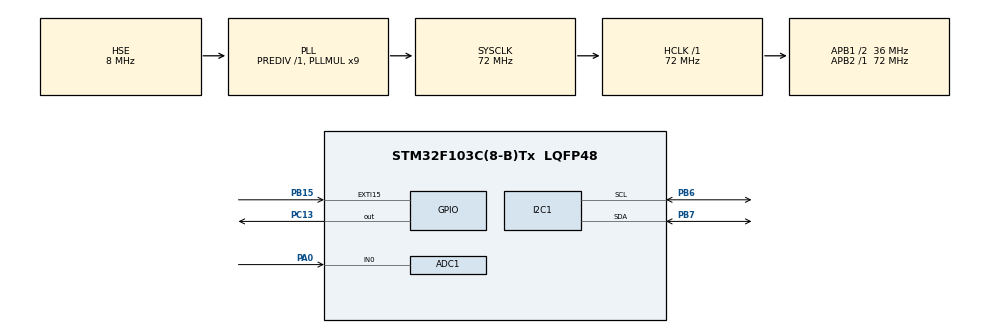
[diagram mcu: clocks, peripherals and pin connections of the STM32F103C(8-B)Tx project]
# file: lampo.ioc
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ADC1.Channel-2\#ChannelRegularConversion=ADC_CHANNEL_0
ADC1.ContinuousConvMode=DISABLE
ADC1.DataAlign=ADC_DATAALIGN_RIGHT
ADC1.EnableRegularConversion=ENABLE
ADC1.ExternalTrigConv=ADC_SOFTWARE_START
ADC1.NbrOfConversionFlag=1
ADC1.Rank-2\#ChannelRegularConversion=1
ADC1.SamplingTime-2\#ChannelRegularConversion=ADC_SAMPLETIME_41CYCLES_5
ADC1.master=1
I2C1.I2C_Mode=I2C_Fast
Mcu.Family=STM32F1
Mcu.Name=STM32F103C(8-B)Tx
Mcu.Package=LQFP48
NVIC.ADC1_2_IRQn=true\:0\:0\:false\:false\:true\:true\:true\:true
NVIC.EXTI15_10_IRQn=true\:0\:0\:false\:false\:true\:true\:true\:true
NVIC.PriorityGroup=NVIC_PRIORITYGROUP_4
NVIC.TIM2_IRQn=true\:0\:0\:false\:false\:true\:true\:true\:true
NVIC.TIM3_IRQn=true\:0\:0\:false\:false\:true\:true\:true\:true
PA0-WKUP.Signal=ADCx_IN0
PB15.GPIO_PuPd=GPIO_PULLDOWN
PB15.Signal=GPXTI15
PB6.Mode=I2C
PB6.Signal=I2C1_SCL
PB7.Mode=I2C
PB7.Signal=I2C1_SDA
PC13-TAMPER-RTC.Signal=GPIO_Output
PD0-OSC_IN.Mode=HSE-External-Oscillator
PD0-OSC_IN.Signal=RCC_OSC_IN
PD1-OSC_OUT.Mode=HSE-External-Oscillator
PD1-OSC_OUT.Signal=RCC_OSC_OUT
ProjectManager.HeapSize=0x200
ProjectManager.StackSize=0x400
ProjectManager.TargetToolchain=STM32CubeIDE
RCC.ADCPresc=RCC_ADCPCLK2_DIV8
RCC.AHBFreq_Value=72000000
RCC.APB1CLKDivider=RCC_HCLK_DIV2
RCC.APB1Freq_Value=36000000
RCC.APB1TimFreq_Value=72000000
RCC.APB2Freq_Value=72000000
RCC.APB2TimFreq_Value=72000000
RCC.HCLKFreq_Value=72000000
RCC.PLLMUL=RCC_PLL_MUL9
RCC.PLLSourceVirtual=RCC_PLLSOURCE_HSE
RCC.SYSCLKFreq_VALUE=72000000
RCC.SYSCLKSource=RCC_SYSCLKSOURCE_PLLCLK
RCC.USBFreq_Value=72000000
SH.ADCx_IN0.0=ADC1_IN0,IN0
TIM2.CounterMode=TIM_COUNTERMODE_UP
TIM2.Period=10000-1
TIM2.Prescaler=7200-1
TIM3.Period=100-1
TIM3.Prescaler=144-1
TIM3.TIM_MasterOutputTrigger=TIM_TRGO_RESET
VP_SYS_VS_ND.Mode=No_Debug
VP_TIM2_VS_ClockSourceINT.Mode=Internal
VP_TIM3_VS_ClockSourceINT.Mode=Internal
board=custom

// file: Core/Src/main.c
/* USER CODE BEGIN Header */
/**
 ******************************************************************************
 * @file           : main.c
 * @brief          : Main program body
 ******************************************************************************
 * @attention
 *
 * Copyright (c) 2022 STMicroelectronics.
 * All rights reserved.
 *
 * This software is licensed under terms that can be found in the LICENSE file
 * in the root directory of this software component.
 * If no LICENSE file comes with this software, it is provided AS-IS.
 *
 ******************************************************************************
 */
/* USER CODE END Header */
#include "main.h"

/* USER CODE BEGIN Includes */
#include "OLED.h"
#include "checksignal.h"
/* USER CODE END Includes */

ADC_HandleTypeDef hadc1;

I2C_HandleTypeDef hi2c1;

TIM_HandleTypeDef htim2;
TIM_HandleTypeDef htim3;

/* USER CODE BEGIN PV */

SignalInfo signalInfo;

uint16_t adc_count = 0;
volatile uint16_t adc_stopped = 0;
volatile uint16_t new_measure_do = 0;

volatile uint16_t tick1 = 0;

uint16_t decimates[] =
{ 1, 2, 4, 8, 16, 32, 64, 128 };

const uint16_t decimate_max_index = 8;
uint16_t decimate_index = 0;

// 128*32
#define MAX_SAMPLES_COUNT 4096
//#define MAX_SAMPLES_COUNT 3200
//#define MAX_SAMPLES_COUNT 2048
// 3200

// 5120

// Отсчеты АЦП 12 бит 0..4095
// 0-3.3 В

#pragma pack(push, 2)
volatile uint16_t samples[MAX_SAMPLES_COUNT] =
{ 0, };
#pragma pack(pop)

volatile uint16_t sample_index = 0;

volatile uint16_t button_pressed = 0;

/* USER CODE END PV */

void SystemClock_Config(void);
static void MX_GPIO_Init(void);
static void MX_I2C1_Init(void);
static void MX_ADC1_Init(void);
static void MX_TIM3_Init(void);
static void MX_TIM2_Init(void);

/* USER CODE BEGIN 0 */

void HAL_ADC_ConvCpltCallback(ADC_HandleTypeDef *hadc)
{
	// обработчик завершения преобразования ацп
	if (adc_stopped)
	{
		// сейчас пауза на обработку записанного сигнала
		return;
	}

	uint16_t a = HAL_ADC_GetValue(&hadc1);
	if (sample_index > 0)
	{
		// фильтрация=сглаживание
		// (предыдущий+текущий)/2 -> в новый отсчет
		a += samples[sample_index - 1];
		samples[sample_index] = a >> 1;
	}
	else
	{
		samples[sample_index] = a;
	}

	sample_index++;

	if (sample_index == MAX_SAMPLES_COUNT)
	{
		sample_index = 0;
		adc_stopped = 1;
	}
}

void HAL_TIM_PeriodElapsedCallback(TIM_HandleTypeDef *htim)
{
	if (htim->Instance == htim2.Instance)
	{
		// Таймер 2 настроен на 1 сек
		tick1++;
		new_measure_do = 1;
	}
	if (htim->Instance == htim3.Instance)
	{
		// для таймера 3 настроено
		// делители 144-1, 50-1  - 10000 кГц - 100.0 мкс
		// делители 225-1, 100-1 -  3200 кГц - 312.5 мкс
		// -1 в настройках таймера - считает с 0 до N-1 и выдает прерывание
		// и запустим новое преобразование ацп
		HAL_ADC_Start_IT(&hadc1);
	}
}

void init_my_devices()
{
	HAL_Delay(100);
	OLED_Init(&hi2c1);
	OLED_FontSet(Font_MSX_6x8_rus1251);
	OLED_SetContrast(4);
	OLED_Clear(0);
	OLED_DrawStr("STM32F103C8T6", 0, 0, 1);
	OLED_DrawStr(__DATE__, 0, 8, 1);
	OLED_DrawStr(__TIME__, 0, 16, 1);
	char str[20];
	sprintf(str, "S=%ld", HAL_RCC_GetSysClockFreq());
	OLED_DrawStr(str, 0, 24, 1);
	sprintf(str, "H=%ld", HAL_RCC_GetHCLKFreq());
	OLED_DrawStr(str, 64, 24, 1);
	sprintf(str, "1=%ld", HAL_RCC_GetPCLK1Freq());
	OLED_DrawStr(str, 0, 32, 1);
	sprintf(str, "2=%ld", HAL_RCC_GetPCLK2Freq());
	OLED_DrawStr(str, 64, 32, 1);
	OLED_UpdateScreen();
	HAL_Delay(800);
	OLED_Clear(0);
	OLED_UpdateScreen();
}

void print_val(uint8_t line, uint32_t v)
{
	char str[15];
	sprintf(str, "%06lu", v);

	switch (line)
	{
	case 0:
		str[0] = 'A';
		break;
	case 1:
		str[0] = 'X';
		break;
	case 2:
		str[0] = 'N';
		break;
	case 3:
		str[0] = 0x98;
		break;
	case 4:
		str[0] = 'F';
		break;
	case 5:
		str[0] = 'D';
		break;
	case 6:
		str[0] = 'K';
		break;
	case 7:
		str[0] = 'k';
		break;
	}

	OLED_DrawStr(str, OLED_WIDTH - 6 * 6, line * 8, 1);
}

void draw_button_state()
{
	char str[10];
	// если compressed - то узкий символ прямоугольник
	str[0] = button_pressed ? 0x86 : 0x9b;
	str[1] = 0;
	OLED_DrawStr(str, 0, 0, 1);
}

void print_signal(SignalInfo *s)
{
	print_val(0, s->average);
	print_val(1, s->maxCode);
	print_val(2, s->minCode);
	print_val(3, s->range);
	print_val(4, s->freq);
	print_val(5, s->decimated);
	print_val(6, s->kp1);
	print_val(7, s->kp2);

}

void print_ticks()
{
	char str[15];
	sprintf(str, "%06u", tick1);
	OLED_DrawStr(str, 0, 56, 1);
}

void draw_waveform()
{
//	decimate_index = (tick1 / 2) % 6;
	signalInfo.decimated = decimates[decimate_index];
	process_adc(&signalInfo, samples, MAX_SAMPLES_COUNT);
	OLED_Clear(0);
	for (uint16_t i = 0; i < signalInfo.show_samples; i++)
	{
		OLED_DrawPixel(i, OLED_HEIGHT - samples[i] - 1);
	}

	print_signal(&signalInfo);
	print_ticks();
	OLED_UpdateScreen();
}

void print_val_zoom(char c, uint32_t v, uint8_t x, uint8_t y, uint8_t zoom)
{
	char str[15];
	sprintf(str, "%4lu", v);
	str[0] = c;

	OLED_DrawStrZoom(str, x, y, 1, zoom);
}

void draw_big_numbers()
{
	signalInfo.decimated = decimates[decimate_index];
	process_adc(&signalInfo, samples, MAX_SAMPLES_COUNT);
	OLED_Clear(0);

	char str[15];
	sprintf(str, "Kp %3u %%", signalInfo.kp1);
	OLED_DrawStrZoom(str, 4, 3, 1, 2);

	sprintf(str, "Fr %4u Hz", signalInfo.freq);
	OLED_DrawStrZoom(str, 4, 24, 1, 2);

	OLED_DrawRectangle(0, 0, 127, 21);
	OLED_DrawRectangle(0, 21, 127, 42);
	OLED_DrawRectangle(0, 42, 127, 63);

	sprintf(str, "%4u Min", signalInfo.minCode);
	OLED_DrawStrZoom(str, 4, 45, 1, 1);
	sprintf(str, "%4u Max", signalInfo.maxCode);
	OLED_DrawStrZoom(str, 4, 54, 1, 1);

	sprintf(str, "%4u Av", signalInfo.average);
	OLED_DrawStrZoom(str, 70, 45, 1, 1);
	sprintf(str, "%4u \x98", signalInfo.range);
	OLED_DrawStrZoom(str, 70, 54, 1, 1);

	OLED_UpdateScreen();
}

/* USER CODE END 0 */

int main(void)
{

	/* MCU Configuration--------------------------------------------------------*/

	/* Reset of all peripherals, Initializes the Flash interface and the Systick. */
	HAL_Init();

	/* Configure the system clock */
	SystemClock_Config();

	/* Initialize all configured peripherals */
	MX_GPIO_Init();
	MX_I2C1_Init();
	MX_ADC1_Init();
	MX_TIM3_Init();
	MX_TIM2_Init();
	/* USER CODE BEGIN 2 */

	init_my_devices();

	HAL_ADCEx_Calibration_Start(&hadc1);

	HAL_TIM_Base_Start_IT(&htim2);
	HAL_TIM_Base_Start_IT(&htim3);

	HAL_Delay(100);

	/* USER CODE END 2 */

	/* Infinite loop */
	/* USER CODE BEGIN WHILE */
	while (1)
	{
//		HAL_Delay(1);
		if (new_measure_do == 1)
		{
			new_measure_do = 0;
		}
		if (adc_stopped)
		{
			HAL_GPIO_WritePin(GPIOC, GPIO_PIN_13, GPIO_PIN_RESET);
			if (decimate_index == (decimate_max_index - 1))
			{
				draw_big_numbers();
			}
			else
			{
				draw_waveform();
			}
			sample_index = 0;
			adc_stopped = 0;
			HAL_GPIO_WritePin(GPIOC, GPIO_PIN_13, GPIO_PIN_SET);
		}

		if (button_pressed)
		{
			draw_button_state();
			OLED_UpdateScreen();
			button_pressed = 0;
			decimate_index = (decimate_index + 1) % decimate_max_index;
		}

		/* USER CODE END WHILE */

	}
}

void SystemClock_Config(void)
{
	RCC_OscInitTypeDef RCC_OscInitStruct =
	{ 0 };
	RCC_ClkInitTypeDef RCC_ClkInitStruct =
	{ 0 };
	RCC_PeriphCLKInitTypeDef PeriphClkInit =
	{ 0 };

	/** Initializes the RCC Oscillators according to the specified parameters
	 * in the RCC_OscInitTypeDef structure.
	 */
	RCC_OscInitStruct.OscillatorType = RCC_OSCILLATORTYPE_HSE;
	RCC_OscInitStruct.HSEState = RCC_HSE_ON;
	RCC_OscInitStruct.HSEPredivValue = RCC_HSE_PREDIV_DIV1;
	RCC_OscInitStruct.HSIState = RCC_HSI_ON;
	RCC_OscInitStruct.PLL.PLLState = RCC_PLL_ON;
	RCC_OscInitStruct.PLL.PLLSource = RCC_PLLSOURCE_HSE;
	RCC_OscInitStruct.PLL.PLLMUL = RCC_PLL_MUL9;
	if (HAL_RCC_OscConfig(&RCC_OscInitStruct) != HAL_OK)
	{
		Error_Handler();
	}

	/** Initializes the CPU, AHB and APB buses clocks
	 */
	RCC_ClkInitStruct.ClockType = RCC_CLOCKTYPE_HCLK | RCC_CLOCKTYPE_SYSCLK
			| RCC_CLOCKTYPE_PCLK1 | RCC_CLOCKTYPE_PCLK2;
	RCC_ClkInitStruct.SYSCLKSource = RCC_SYSCLKSOURCE_PLLCLK;
	RCC_ClkInitStruct.AHBCLKDivider = RCC_SYSCLK_DIV1;
	RCC_ClkInitStruct.APB1CLKDivider = RCC_HCLK_DIV2;
	RCC_ClkInitStruct.APB2CLKDivider = RCC_HCLK_DIV1;

	if (HAL_RCC_ClockConfig(&RCC_ClkInitStruct, FLASH_LATENCY_2) != HAL_OK)
	{
		Error_Handler();
	}
	PeriphClkInit.PeriphClockSelection = RCC_PERIPHCLK_ADC;
	PeriphClkInit.AdcClockSelection = RCC_ADCPCLK2_DIV8;
	if (HAL_RCCEx_PeriphCLKConfig(&PeriphClkInit) != HAL_OK)
	{
		Error_Handler();
	}
}

static void MX_ADC1_Init(void)
{

	ADC_ChannelConfTypeDef sConfig =
	{ 0 };

	/** Common config
	 */
	hadc1.Instance = ADC1;
	hadc1.Init.ScanConvMode = ADC_SCAN_DISABLE;
	hadc1.Init.ContinuousConvMode = DISABLE;
	hadc1.Init.DiscontinuousConvMode = DISABLE;
	hadc1.Init.ExternalTrigConv = ADC_SOFTWARE_START;
	hadc1.Init.DataAlign = ADC_DATAALIGN_RIGHT;
	hadc1.Init.NbrOfConversion = 1;
	if (HAL_ADC_Init(&hadc1) != HAL_OK)
	{
		Error_Handler();
	}

	/** Configure Regular Channel
	 */
	sConfig.Channel = ADC_CHANNEL_0;
	sConfig.Rank = ADC_REGULAR_RANK_1;
	sConfig.SamplingTime = ADC_SAMPLETIME_41CYCLES_5;
	if (HAL_ADC_ConfigChannel(&hadc1, &sConfig) != HAL_OK)
	{
		Error_Handler();
	}

}

static void MX_I2C1_Init(void)
{

	hi2c1.Instance = I2C1;
	hi2c1.Init.ClockSpeed = 400000;
	hi2c1.Init.DutyCycle = I2C_DUTYCYCLE_2;
	hi2c1.Init.OwnAddress1 = 0;
	hi2c1.Init.AddressingMode = I2C_ADDRESSINGMODE_7BIT;
	hi2c1.Init.DualAddressMode = I2C_DUALADDRESS_DISABLE;
	hi2c1.Init.OwnAddress2 = 0;
	hi2c1.Init.GeneralCallMode = I2C_GENERALCALL_DISABLE;
	hi2c1.Init.NoStretchMode = I2C_NOSTRETCH_DISABLE;
	if (HAL_I2C_Init(&hi2c1) != HAL_OK)
	{
		Error_Handler();
	}

}

static void MX_TIM2_Init(void)
{

	TIM_ClockConfigTypeDef sClockSourceConfig =
	{ 0 };
	TIM_MasterConfigTypeDef sMasterConfig =
	{ 0 };

	htim2.Instance = TIM2;
	htim2.Init.Prescaler = 7200 - 1;
	htim2.Init.CounterMode = TIM_COUNTERMODE_UP;
	htim2.Init.Period = 10000 - 1;
	htim2.Init.ClockDivision = TIM_CLOCKDIVISION_DIV1;
	htim2.Init.AutoReloadPreload = TIM_AUTORELOAD_PRELOAD_DISABLE;
	if (HAL_TIM_Base_Init(&htim2) != HAL_OK)
	{
		Error_Handler();
	}
	sClockSourceConfig.ClockSource = TIM_CLOCKSOURCE_INTERNAL;
	if (HAL_TIM_ConfigClockSource(&htim2, &sClockSourceConfig) != HAL_OK)
	{
		Error_Handler();
	}
	sMasterConfig.MasterOutputTrigger = TIM_TRGO_RESET;
	sMasterConfig.MasterSlaveMode = TIM_MASTERSLAVEMODE_DISABLE;
	if (HAL_TIMEx_MasterConfigSynchronization(&htim2, &sMasterConfig) != HAL_OK)
	{
		Error_Handler();
	}

}

static void MX_TIM3_Init(void)
{

	TIM_ClockConfigTypeDef sClockSourceConfig =
	{ 0 };
	TIM_MasterConfigTypeDef sMasterConfig =
	{ 0 };

	htim3.Instance = TIM3;
	htim3.Init.Prescaler = 144 - 1;
	htim3.Init.CounterMode = TIM_COUNTERMODE_UP;
	htim3.Init.Period = 100 - 1;
	htim3.Init.ClockDivision = TIM_CLOCKDIVISION_DIV1;
	htim3.Init.AutoReloadPreload = TIM_AUTORELOAD_PRELOAD_DISABLE;
	if (HAL_TIM_Base_Init(&htim3) != HAL_OK)
	{
		Error_Handler();
	}
	sClockSourceConfig.ClockSource = TIM_CLOCKSOURCE_INTERNAL;
	if (HAL_TIM_ConfigClockSource(&htim3, &sClockSourceConfig) != HAL_OK)
	{
		Error_Handler();
	}
	sMasterConfig.MasterOutputTrigger = TIM_TRGO_RESET;
	sMasterConfig.MasterSlaveMode = TIM_MASTERSLAVEMODE_DISABLE;
	if (HAL_TIMEx_MasterConfigSynchronization(&htim3, &sMasterConfig) != HAL_OK)
	{
		Error_Handler();
	}

}

static void MX_GPIO_Init(void)
{
	GPIO_InitTypeDef GPIO_InitStruct =
	{ 0 };

	/* GPIO Ports Clock Enable */
	__HAL_RCC_GPIOC_CLK_ENABLE();
	__HAL_RCC_GPIOD_CLK_ENABLE();
	__HAL_RCC_GPIOA_CLK_ENABLE();
	__HAL_RCC_GPIOB_CLK_ENABLE();

	/*Configure GPIO pin Output Level */
	HAL_GPIO_WritePin(GPIOC, GPIO_PIN_13, GPIO_PIN_RESET);

	/*Configure GPIO pin : PC13 */
	GPIO_InitStruct.Pin = GPIO_PIN_13;
	GPIO_InitStruct.Mode = GPIO_MODE_OUTPUT_PP;
	GPIO_InitStruct.Pull = GPIO_NOPULL;
	GPIO_InitStruct.Speed = GPIO_SPEED_FREQ_LOW;
	HAL_GPIO_Init(GPIOC, &GPIO_InitStruct);

	/*Configure GPIO pin : PB15 */
	GPIO_InitStruct.Pin = GPIO_PIN_15;
	GPIO_InitStruct.Mode = GPIO_MODE_IT_RISING;
	GPIO_InitStruct.Pull = GPIO_PULLDOWN;
	HAL_GPIO_Init(GPIOB, &GPIO_InitStruct);

	/* EXTI interrupt init*/
	HAL_NVIC_SetPriority(EXTI15_10_IRQn, 0, 0);
	HAL_NVIC_EnableIRQ(EXTI15_10_IRQn);

}

/* USER CODE BEGIN 4 */
void HAL_GPIO_EXTI_Callback(uint16_t GPIO_Pin)
{
	if (GPIO_Pin == GPIO_PIN_15)
	{
		button_pressed = 1;
	}
}
/* USER CODE END 4 */

void Error_Handler(void)
{
	__disable_irq();
	while (1)
	{
	}
}
